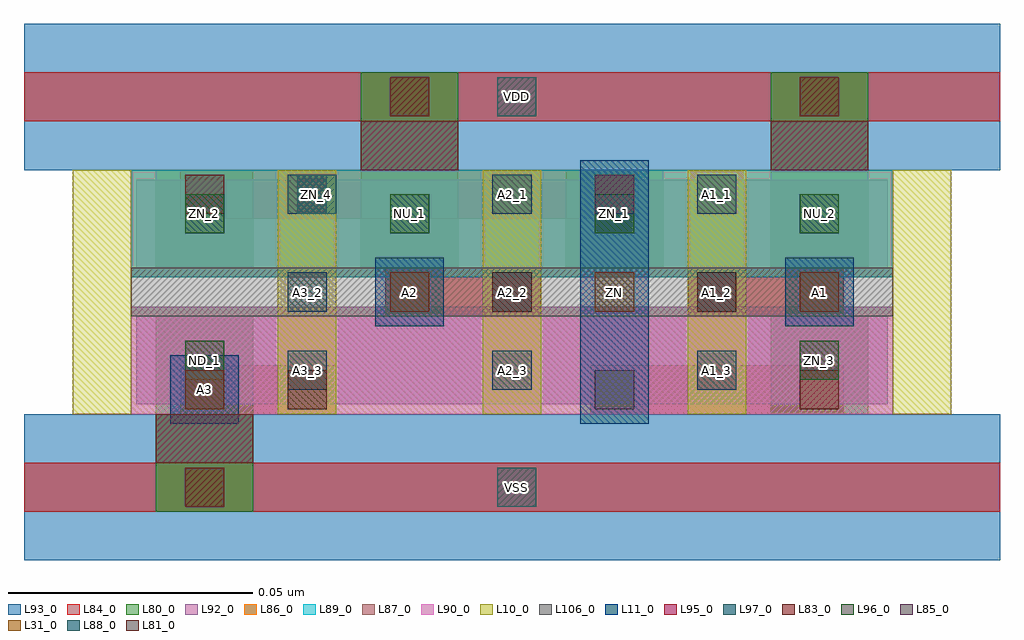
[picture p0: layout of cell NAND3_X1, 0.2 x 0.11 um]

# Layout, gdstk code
import gdstk
lib = gdstk.Library(unit=1e-6, precision=1e-09)
def R(c, l, rs):  # rectangles x0, y0, x1, y1
    for r in rs: c.add(gdstk.rectangle(r[:2], r[2:], *l))
def A(c, l, x, y, w, h, nx, ny, dx, dy):  # array of equal rectangles
    R(c, l, [(x+i*dx, y+j*dy, x+i*dx+w, y+j*dy+h) for i in range(nx) for j in range(ny)])
L10_0 = (10, 0)
L11_0 = (11, 0)
L31_0 = (31, 0)
L80_0 = (80, 0)
L81_0 = (81, 0)
L83_0 = (83, 0)
L84_0 = (84, 0)
L85_0 = (85, 0)
L86_0 = (86, 0)
L87_0 = (87, 0)
L88_0 = (88, 0)
L89_0 = (89, 0)
L90_0 = (90, 0)
L92_0 = (92, 0)
L93_0 = (93, 0)
L95_0 = (95, 0)
L96_0 = (96, 0)
L97_0 = (97, 0)
L106_0 = (106, 0)

nand3_x1 = lib.new_cell('NAND3_X1')
A(nand3_x1, L10_0, -0.027, 0.015, 0.012, 0.05, 5, 1, 0.042, 0)
R(nand3_x1, L11_0, [(-0.007,0.013,0.007,0.027), (0.077,0.013,0.091,0.047), (0.035,0.033,0.049,0.047), (0.077,0.033,0.091,0.067), (0.119,0.033,0.133,0.047)])
A(nand3_x1, L31_0, 0.038, 0.036, 0.008, 0.008, 3, 1, 0.042, 0)
R(nand3_x1, L31_0, [(-0.004,0.016,0.004,0.024)])
R(nand3_x1, L80_0, [(-0.01,-0.005,0.01,0.016), (-0.01,0.015,0.01,0.035), (0.116,0.015,0.136,0.035), (-0.01,0.045,0.01,0.065), (-0.01,0.045,0.01,0.065), (0.032,0.045,0.052,0.065), (0.032,0.045,0.052,0.065), (0.074,0.045,0.094,0.065), (0.074,0.045,0.094,0.065), (0.116,0.045,0.136,0.065), (0.116,0.045,0.136,0.065), (0.032,0.056,0.052,0.085), (0.116,0.056,0.136,0.085)])
R(nand3_x1, L81_0, [(0.017,0.016,0.025,0.024), (0.059,0.036,0.067,0.044), (0.101,0.036,0.109,0.044)])
R(nand3_x1, L83_0, [(-0.004,-0.004,0.004,0.004), (0.122,0.016,0.13,0.024), (-0.004,0.056,0.004,0.064), (-0.004,0.056,0.004,0.064), (0.08,0.056,0.088,0.064), (0.038,0.076,0.046,0.084), (0.122,0.076,0.13,0.084)])
A(nand3_x1, L84_0, -0.005, 0.055, 0.031, 0.01, 4, 1, 0.021, 0)
R(nand3_x1, L84_0, [(-0.037,-0.005,0.163,0.005), (-0.005,0.015,0.027,0.025), (0.079,0.015,0.11,0.025), (0.1,0.015,0.131,0.025), (0.037,0.035,0.069,0.045), (0.099,0.035,0.131,0.045), (-0.037,0.075,0.163,0.085)])
R(nand3_x1, L85_0, [(-0.004,0.016,0.004,0.024), (0.08,0.016,0.088,0.024), (0.038,0.036,0.046,0.044), (0.122,0.036,0.13,0.044), (0.08,0.056,0.088,0.064)])
R(nand3_x1, L86_0, [(-0.015,0.043,0.141,0.065)])
R(nand3_x1, L87_0, [(-0.015,0.015,0.141,0.037)])
R(nand3_x1, L88_0, [(0.06,-0.004,0.068,0.004), (0.019,0.056,0.027,0.064), (0.06,0.076,0.068,0.084)])
R(nand3_x1, L89_0, [(-0.015,0.043,0.141,0.065)])
R(nand3_x1, L90_0, [(-0.015,0.015,0.141,0.037)])
R(nand3_x1, L92_0, [(-0.014,0.017,0.14,0.035), (-0.014,0.045,0.14,0.063)])
R(nand3_x1, L93_0, [(-0.037,-0.015,0.163,0.015), (-0.037,0.065,0.163,0.095)])
R(nand3_x1, L95_0, [(-0.01,0.005,0.01,0.015), (0.032,0.065,0.052,0.075), (0.116,0.065,0.136,0.075)])
A(nand3_x1, L96_0, -0.004, 0.052, 0.008, 0.008, 4, 1, 0.042, 0)
R(nand3_x1, L96_0, [(-0.004,0.022,0.004,0.03), (0.122,0.022,0.13,0.03)])
A(nand3_x1, L97_0, 0.017, 0.02, 0.008, 0.008, 3, 2, 0.042, 0.016)
A(nand3_x1, L97_0, 0.017, 0.056, 0.008, 0.008, 3, 1, 0.042, 0)
R(nand3_x1, L106_0, [(-0.015,0.035,0.141,0.045)])
nand3_x1.add(gdstk.Label('ZN_4', (0.023,0.06), layer=88, texttype=0))
nand3_x1.add(gdstk.Label('VSS', (0.064,0), layer=88, texttype=0))
nand3_x1.add(gdstk.Label('VDD', (0.064,0.08), layer=88, texttype=0))
nand3_x1.add(gdstk.Label('ZN_3', (0.126,0.026), layer=96, texttype=0))
nand3_x1.add(gdstk.Label('ND_1', (0,0.026), layer=96, texttype=0))
nand3_x1.add(gdstk.Label('ZN_2', (0,0.056), layer=96, texttype=0))
nand3_x1.add(gdstk.Label('NU_2', (0.126,0.056), layer=96, texttype=0))
nand3_x1.add(gdstk.Label('ZN_1', (0.084,0.056), layer=96, texttype=0))
nand3_x1.add(gdstk.Label('NU_1', (0.042,0.056), layer=96, texttype=0))
nand3_x1.add(gdstk.Label('ZN', (0.084,0.04), layer=31, texttype=0))
nand3_x1.add(gdstk.Label('A1', (0.126,0.04), layer=31, texttype=0))
nand3_x1.add(gdstk.Label('A2', (0.042,0.04), layer=31, texttype=0))
nand3_x1.add(gdstk.Label('A3', (0,0.02), layer=31, texttype=0))
nand3_x1.add(gdstk.Label('A1_3', (0.105,0.024), layer=97, texttype=0))
nand3_x1.add(gdstk.Label('A1_2', (0.105,0.04), layer=97, texttype=0))
nand3_x1.add(gdstk.Label('A1_1', (0.105,0.06), layer=97, texttype=0))
nand3_x1.add(gdstk.Label('A2_2', (0.063,0.04), layer=97, texttype=0))
nand3_x1.add(gdstk.Label('A2_3', (0.063,0.024), layer=97, texttype=0))
nand3_x1.add(gdstk.Label('A3_1', (0.021,0.06), layer=97, texttype=0))
nand3_x1.add(gdstk.Label('A3_3', (0.021,0.024), layer=97, texttype=0))
nand3_x1.add(gdstk.Label('A3_2', (0.021,0.04), layer=97, texttype=0))
nand3_x1.add(gdstk.Label('A2_1', (0.063,0.06), layer=97, texttype=0))

lib.write_gds('NAND3_X1.gds')
